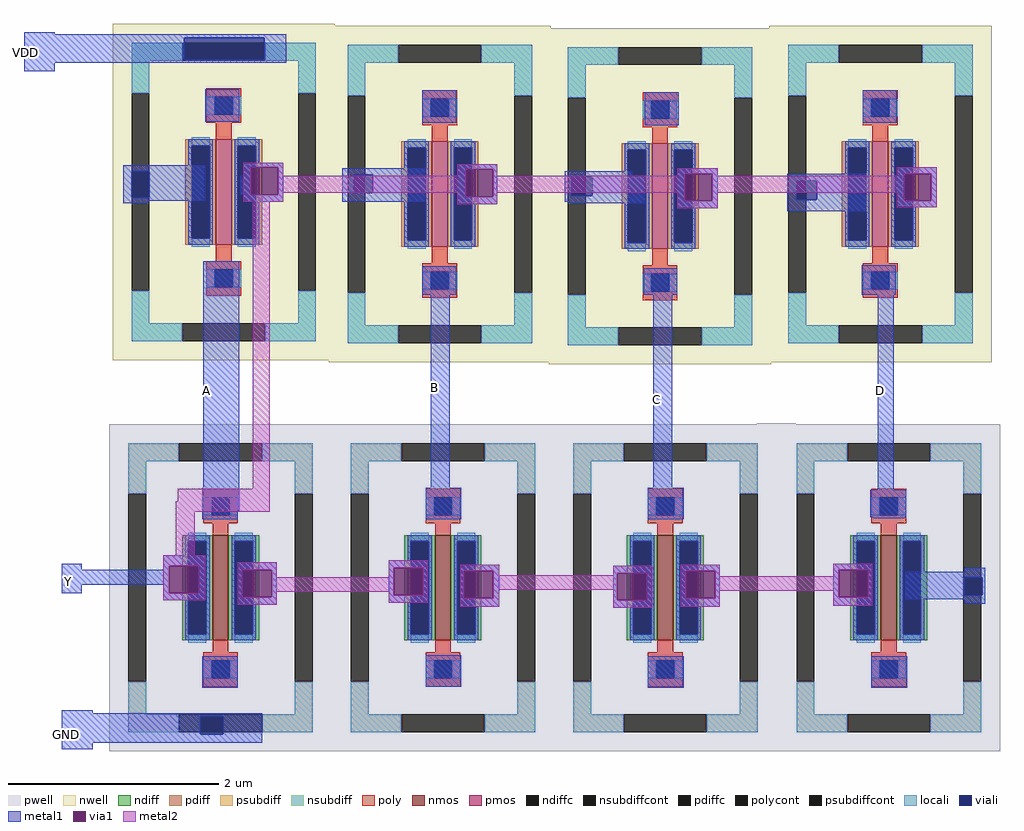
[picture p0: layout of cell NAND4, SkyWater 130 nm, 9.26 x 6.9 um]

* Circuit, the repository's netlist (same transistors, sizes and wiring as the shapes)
* SPICE3 file created from NAND4.ext - technology: sky130A

X0 XM8/D A Y GND sky130_fd_pr__nfet_01v8 ad=0.29 pd=2.58 as=0.29 ps=2.58 w=1 l=0.15
X1 XM6/D C XM8/S GND sky130_fd_pr__nfet_01v8 ad=0.58 pd=5.16 as=0.58 ps=5.16 w=1 l=0.15
X2 Y A VDD VDD sky130_fd_pr__pfet_01v8 ad=0.29 pd=2.58 as=0.29 ps=2.58 w=1 l=0.15
X3 Y B VDD VDD sky130_fd_pr__pfet_01v8 ad=1.16 pd=10.32 as=1.16 ps=10.32 w=1 l=0.15
X4 Y C VDD VDD sky130_fd_pr__pfet_01v8 ad=0 pd=0 as=0 ps=0 w=1 l=0.15
X5 GND D XM6/D GND sky130_fd_pr__nfet_01v8 ad=0.29 pd=2.58 as=0 ps=0 w=1 l=0.15
X6 Y D VDD VDD sky130_fd_pr__pfet_01v8 ad=0 pd=0 as=0 ps=0 w=1 l=0.15
X7 XM8/S B XM8/D GND sky130_fd_pr__nfet_01v8 ad=0 pd=0 as=0.58 ps=5.16 w=1 l=0.15
* C0 VDD GND 4.512784f

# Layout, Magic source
magic
tech sky130A
magscale 1 2
<< nwell >>
rect -384 128 -174 130
rect -454 -138 -406 -66
rect -212 -74 -160 -70
<< pwell >>
rect 748 -1178 822 -556
<< viali >>
rect -338 134 -186 176
rect -438 -128 -404 -78
rect -16 -118 20 -84
rect 396 -124 436 -88
rect 824 -132 862 -96
rect 1142 -882 1176 -848
rect -308 -1146 -264 -1112
<< metal1 >>
rect -642 182 -584 186
rect -642 176 -144 182
rect -642 134 -338 176
rect -186 134 -144 176
rect -642 128 -144 134
rect -642 112 -584 128
rect -298 16 -234 78
rect 114 14 178 76
rect 536 10 600 72
rect 950 14 1014 76
rect -454 -78 -298 -66
rect -454 -128 -438 -78
rect -404 -128 -298 -78
rect -226 -70 -150 -62
rect -226 -86 -212 -70
rect -232 -122 -212 -86
rect -160 -122 -150 -70
rect -454 -134 -298 -128
rect -454 -138 -406 -134
rect -226 -136 -150 -122
rect -38 -84 122 -72
rect -38 -118 -16 -84
rect 20 -118 122 -84
rect -38 -136 122 -118
rect 180 -74 256 -64
rect 180 -126 196 -74
rect 248 -126 256 -74
rect 180 -140 256 -126
rect 384 -86 512 -78
rect 598 -82 674 -72
rect 1014 -82 1090 -70
rect 384 -88 536 -86
rect 384 -124 396 -88
rect 436 -124 536 -88
rect 384 -136 536 -124
rect 392 -138 536 -136
rect 598 -134 612 -82
rect 664 -134 674 -82
rect 598 -148 674 -134
rect 806 -96 958 -82
rect 806 -132 824 -96
rect 862 -132 958 -96
rect 806 -154 958 -132
rect 1014 -134 1028 -82
rect 1080 -134 1090 -82
rect 1014 -146 1090 -134
rect -302 -678 -234 -248
rect 114 -312 178 -258
rect 534 -312 598 -262
rect 948 -312 1012 -256
rect 130 -678 166 -312
rect 552 -678 588 -312
rect -304 -722 -234 -678
rect -304 -738 -236 -722
rect 120 -738 188 -678
rect 542 -738 610 -678
rect 978 -682 1008 -312
rect 964 -734 1032 -682
rect -570 -834 -532 -822
rect -378 -826 -298 -806
rect -378 -834 -366 -826
rect -570 -862 -366 -834
rect -570 -878 -532 -862
rect -378 -878 -366 -862
rect -310 -878 -298 -826
rect -378 -892 -298 -878
rect -236 -834 -162 -820
rect -236 -886 -228 -834
rect -172 -886 -162 -834
rect -236 -900 -162 -886
rect 50 -830 124 -816
rect 50 -882 60 -830
rect 116 -882 124 -830
rect 50 -896 124 -882
rect 186 -836 260 -824
rect 186 -888 192 -836
rect 248 -888 260 -836
rect 186 -904 260 -888
rect 476 -840 550 -826
rect 476 -892 484 -840
rect 540 -892 550 -840
rect 476 -906 550 -892
rect 604 -836 678 -824
rect 604 -888 614 -836
rect 670 -888 678 -836
rect 604 -904 678 -888
rect 894 -834 968 -822
rect 894 -886 904 -834
rect 960 -886 968 -834
rect 1142 -838 1182 -830
rect 894 -902 968 -886
rect 1030 -848 1182 -838
rect 1030 -882 1142 -848
rect 1176 -882 1182 -848
rect 1030 -890 1182 -882
rect 1142 -898 1182 -890
rect -304 -1058 -236 -998
rect 120 -1056 188 -996
rect 542 -1058 610 -998
rect 966 -1058 1034 -998
rect -570 -1106 -512 -1100
rect -570 -1112 -190 -1106
rect -570 -1146 -308 -1112
rect -264 -1146 -190 -1112
rect -570 -1162 -190 -1146
rect -570 -1174 -512 -1162
<< via1 >>
rect -212 -122 -160 -70
rect 196 -126 248 -74
rect 612 -134 664 -82
rect 1028 -134 1080 -82
rect -366 -878 -310 -826
rect -228 -886 -172 -834
rect 60 -882 116 -830
rect 192 -888 248 -836
rect 484 -892 540 -840
rect 614 -888 670 -836
rect 904 -886 960 -834
<< metal2 >>
rect -226 -70 -150 -62
rect -226 -122 -212 -70
rect -160 -86 -150 -70
rect 180 -74 256 -64
rect 180 -86 196 -74
rect -160 -118 196 -86
rect -160 -122 -150 -118
rect -226 -136 -150 -122
rect 180 -126 196 -118
rect 248 -86 256 -74
rect 598 -82 674 -72
rect 598 -86 612 -82
rect 248 -118 612 -86
rect 248 -126 256 -118
rect -208 -680 -176 -136
rect 180 -140 256 -126
rect 598 -134 612 -118
rect 664 -86 674 -82
rect 1014 -82 1090 -70
rect 1014 -86 1028 -82
rect 664 -118 1028 -86
rect 664 -134 674 -118
rect 598 -148 674 -134
rect 1014 -134 1028 -118
rect 1080 -134 1090 -82
rect 1014 -146 1090 -134
rect -350 -704 -176 -680
rect -354 -724 -176 -704
rect -354 -806 -318 -724
rect -378 -826 -298 -806
rect -378 -878 -366 -826
rect -310 -878 -298 -826
rect -378 -892 -298 -878
rect -236 -834 -162 -820
rect -236 -886 -228 -834
rect -172 -848 -162 -834
rect 50 -830 124 -816
rect 50 -848 60 -830
rect -172 -876 60 -848
rect -172 -886 -162 -876
rect -236 -900 -162 -886
rect 50 -882 60 -876
rect 116 -882 124 -830
rect 50 -896 124 -882
rect 186 -836 260 -824
rect 186 -888 192 -836
rect 248 -844 260 -836
rect 476 -840 550 -826
rect 476 -844 484 -840
rect 248 -872 484 -844
rect 248 -888 260 -872
rect 186 -904 260 -888
rect 476 -892 484 -872
rect 540 -892 550 -840
rect 476 -906 550 -892
rect 604 -836 678 -824
rect 604 -888 614 -836
rect 670 -846 678 -836
rect 894 -834 968 -822
rect 894 -846 904 -834
rect 670 -874 904 -846
rect 670 -888 678 -874
rect 604 -904 678 -888
rect 894 -886 904 -874
rect 960 -886 968 -834
rect 894 -902 968 -886
use sky130_fd_pr__nfet_01v8_SFU2NW  XM1
transform 1 0 -269 0 1 -868
box -211 -310 211 310
use sky130_fd_pr__nfet_01v8_SFU2NW  XM2
transform 1 0 575 0 1 -868
box -211 -310 211 310
use sky130_fd_pr__pfet_01v8_KBS6X7  XM3
transform 1 0 -263 0 1 -117
box -211 -319 211 319
use sky130_fd_pr__pfet_01v8_KBS6X7  XM4
transform 1 0 147 0 1 -121
box -211 -319 211 319
use sky130_fd_pr__pfet_01v8_KBS6X7  XM5
transform 1 0 565 0 1 -125
box -211 -319 211 319
use sky130_fd_pr__nfet_01v8_SFU2NW  XM6
transform 1 0 999 0 1 -868
box -211 -310 211 310
use sky130_fd_pr__pfet_01v8_KBS6X7  XM7
transform 1 0 983 0 1 -121
box -211 -319 211 319
use sky130_fd_pr__nfet_01v8_SFU2NW  XM8
transform 1 0 153 0 1 -868
box -211 -310 211 310
<< labels >>
rlabel metal1 -640 148 -640 148 3 VDD
rlabel metal1 -296 -494 -296 -494 1 A
rlabel metal1 136 -488 136 -488 1 B
rlabel metal1 558 -510 558 -510 1 C
rlabel metal1 984 -494 984 -494 1 D
rlabel metal1 -558 -856 -558 -856 1 Y
rlabel metal1 -562 -1146 -562 -1146 1 GND
<< end >>

# cell sky130_fd_pr__nfet_01v8_SFU2NW: kit device sky130_fd_pr__nfet_01v8, w 1.0 l 0.15 m 1 nf 1 diffcov 100 polycov 100 guard 1 glc 1 grc 1 gtc 1 gbc 1 tbcov 100 rlcov 100 topc 1 botc 1 poverlap 0 doverlap 1 lmin 0.15 wmin 0.42 class mosfet compatible {sky130_fd_pr__nfet_01v8 sky130_fd_pr__nfet_01v8_lvt sky130_fd_bs_flash__special_sonosfet_star sky130_fd_pr__nfet_g5v0d10v5 sky130_fd_pr__nfet_05v0_nvt sky130_fd_pr__nfet_03v3_nvt} full_metal 1 viasrc 100 viadrn 100 viagate 100 viagb 0 viagr 0 viagl 0 viagt 0 doports 1 ad {int((nf+1)/2) * W/nf * 0.29} as {int((nf+2)/2) * W/nf * 0.29} pd {2*int((nf+1)/2) * (W/nf + 0.29)} ps {2*int((nf+2)/2) * (W/nf + 0.29)} nrd {0.29 / W} nrs {0.29 / W} sa 0 sb 0 sd 0 mult 1

# cell sky130_fd_pr__pfet_01v8_KBS6X7: kit device sky130_fd_pr__pfet_01v8, w 1.0 l 0.15 m 1 nf 1 diffcov 100 polycov 100 guard 1 glc 1 grc 1 gtc 1 gbc 1 tbcov 100 rlcov 100 topc 1 botc 1 poverlap 0 doverlap 1 lmin 0.15 wmin 0.42 class mosfet compatible {sky130_fd_pr__pfet_01v8 sky130_fd_pr__pfet_01v8_lvt sky130_fd_pr__pfet_01v8_hvt sky130_fd_pr__pfet_g5v0d10v5} full_metal 1 viasrc 100 viadrn 100 viagate 100 viagb 0 viagr 0 viagl 0 viagt 0 doports 1 ad {int((nf+1)/2) * W/nf * 0.29} as {int((nf+2)/2) * W/nf * 0.29} pd {2*int((nf+1)/2) * (W/nf + 0.29)} ps {2*int((nf+2)/2) * (W/nf + 0.29)} nrd {0.29 / W} nrs {0.29 / W} sa 0 sb 0 sd 0 mult 1
